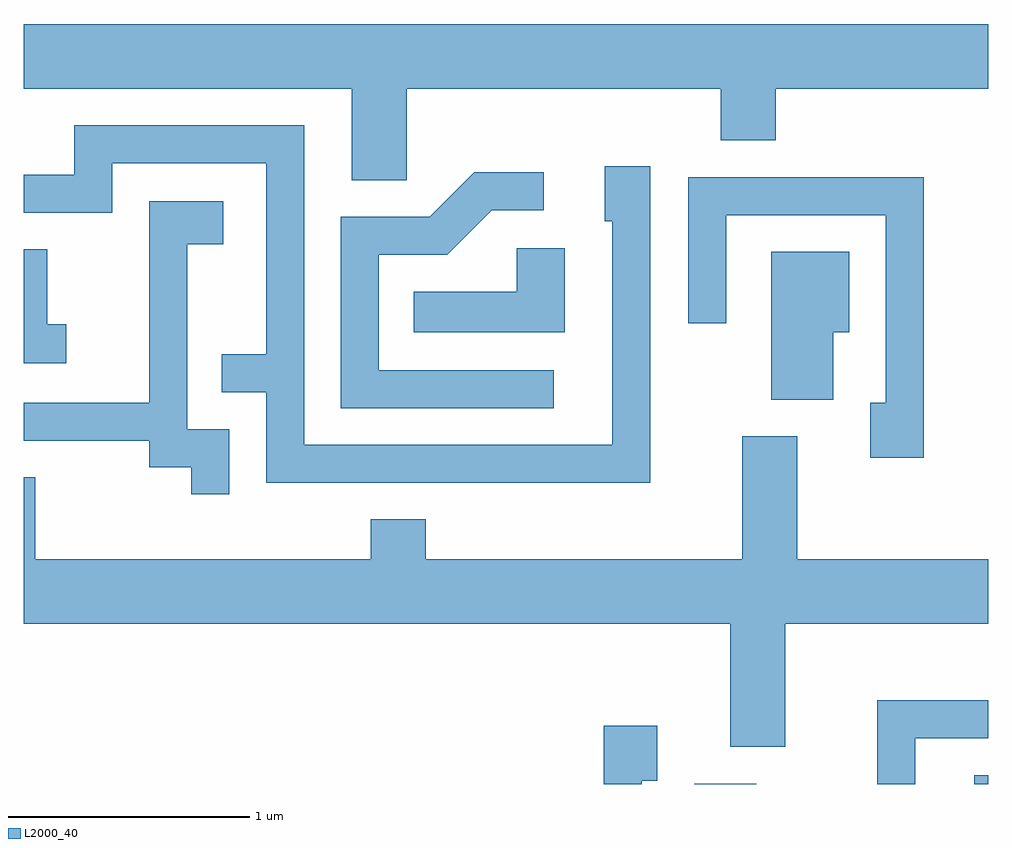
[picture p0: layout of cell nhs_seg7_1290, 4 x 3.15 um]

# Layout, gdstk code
import gdstk
lib = gdstk.Library(unit=1e-6, precision=1e-09)
def R(c, l, rs):  # rectangles x0, y0, x1, y1
    for r in rs: c.add(gdstk.rectangle(r[:2], r[2:], *l))
def P(c, l, *ps):  # polygons
    for p in ps: c.add(gdstk.Polygon(p, *l))
L2000_40 = (2000, 40)

nhs_seg7_1290 = lib.new_cell('nhs_seg7_1290')
R(nhs_seg7_1290, L2000_40, [(226.391,1780.252,226.649,1780.254), (227.553,1780.252,227.611,1780.289)])
P(nhs_seg7_1290, L2000_40, [(225.199,1783.136),(226.501,1783.136),(226.501,1782.921),(226.729,1782.921),(226.729,1783.136),(227.611,1783.136),(227.611,1783.404),(223.611,1783.404),(223.611,1783.136),(224.971,1783.136),(224.971,1782.756),(225.199,1782.756)],
  [(226.209,1782.814),(226.021,1782.814),(226.021,1782.586),(226.051,1782.586),(226.051,1781.659),(224.774,1781.659),(224.774,1782.984),(223.821,1782.984),(223.821,1782.779),(223.611,1782.779),(223.611,1782.621),(223.979,1782.621),(223.979,1782.826),(224.616,1782.826),(224.616,1782.034),(224.433,1782.034),(224.433,1781.876),(224.616,1781.876),(224.616,1781.501),(226.209,1781.501)],
  [(225.808,1781.969),(225.084,1781.969),(225.084,1782.446),(225.367,1782.446),(225.552,1782.631),(225.768,1782.631),(225.768,1782.789),(225.479,1782.789),(225.294,1782.604),(224.926,1782.604),(224.926,1781.811),(225.808,1781.811)],
  [(227.344,1782.769),(226.366,1782.769),(226.366,1782.163),(226.524,1782.163),(226.524,1782.611),(227.186,1782.611),(227.186,1781.834),(227.121,1781.834),(227.121,1781.606),(227.344,1781.606)],
  [(224.464,1781.724),(224.289,1781.724),(224.289,1782.491),(224.439,1782.491),(224.439,1782.669),(224.131,1782.669),(224.131,1781.834),(223.611,1781.834),(223.611,1781.676),(224.131,1781.676),(224.131,1781.566),(224.306,1781.566),(224.306,1781.453),(224.464,1781.453)],
  [(225.854,1782.474),(225.656,1782.474),(225.656,1782.294),(225.228,1782.294),(225.228,1782.126),(225.854,1782.126)],
  [(223.788,1782.159),(223.709,1782.159),(223.709,1782.469),(223.611,1782.469),(223.611,1781.996),(223.788,1781.996)],
  [(226.969,1782.126),(227.034,1782.126),(227.034,1782.459),(226.711,1782.459),(226.711,1781.846),(226.969,1781.846)],
  [(226.769,1780.916),(227.611,1780.916),(227.611,1781.184),(226.819,1781.184),(226.819,1781.694),(226.591,1781.694),(226.591,1781.184),(225.279,1781.184),(225.279,1781.349),(225.051,1781.349),(225.051,1781.184),(223.659,1781.184),(223.659,1781.524),(223.611,1781.524),(223.611,1780.916),(226.541,1780.916),(226.541,1780.406),(226.769,1780.406)],
  [(227.309,1780.441),(227.611,1780.441),(227.611,1780.599),(227.151,1780.599),(227.151,1780.252),(227.309,1780.252)],
  [(226.174,1780.266),(226.239,1780.266),(226.239,1780.494),(226.016,1780.494),(226.016,1780.252),(226.174,1780.252)])

lib.write_gds('nhs_seg7_1290.gds')
